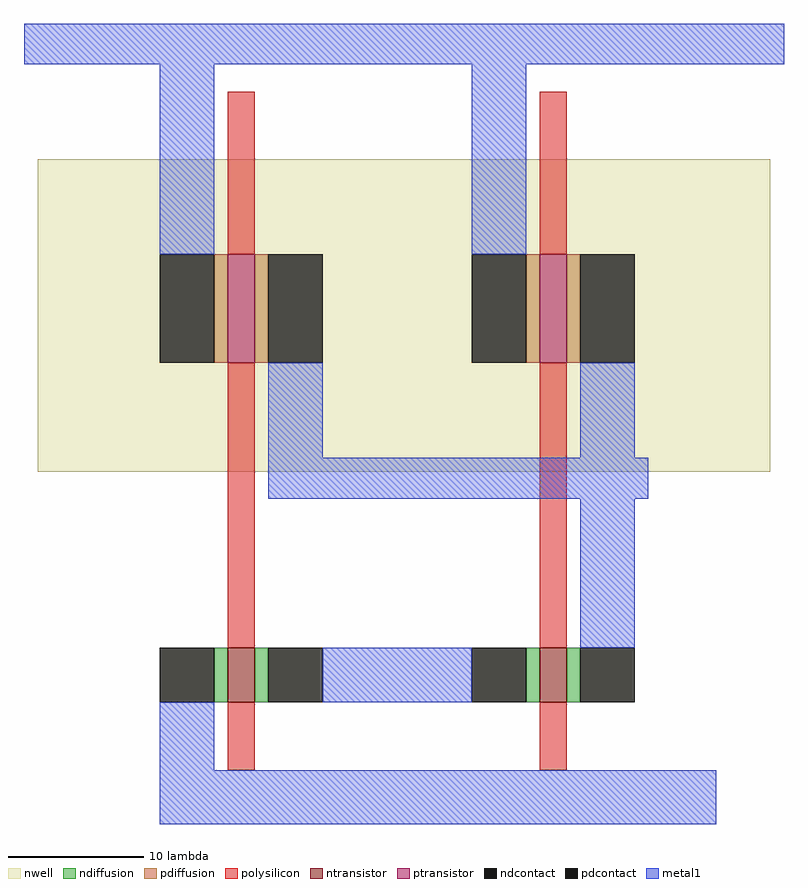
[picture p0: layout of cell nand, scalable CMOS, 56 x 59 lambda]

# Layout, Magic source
magic
tech scmos
<< nwell >>
rect 54 71 108 94
<< polysilicon >>
rect 68 87 70 99
rect 91 87 93 99
rect 68 58 70 79
rect 91 58 93 79
rect 68 49 70 54
rect 91 49 93 54
<< ndiffusion >>
rect 67 54 68 58
rect 70 54 71 58
rect 90 54 91 58
rect 93 54 94 58
<< pdiffusion >>
rect 67 79 68 87
rect 70 79 71 87
rect 90 79 91 87
rect 93 79 94 87
<< metal1 >>
rect 53 101 109 104
rect 63 87 67 101
rect 86 87 90 101
rect 71 72 75 79
rect 94 72 98 79
rect 71 69 99 72
rect 94 58 98 69
rect 75 54 86 58
rect 63 49 67 54
rect 63 45 104 49
<< ntransistor >>
rect 68 54 70 58
rect 91 54 93 58
<< ptransistor >>
rect 68 79 70 87
rect 91 79 93 87
<< ndcontact >>
rect 63 54 67 58
rect 71 54 75 58
rect 86 54 90 58
rect 94 54 98 58
<< pdcontact >>
rect 63 79 67 87
rect 71 79 75 87
rect 86 79 90 87
rect 94 79 98 87
<< end >>
